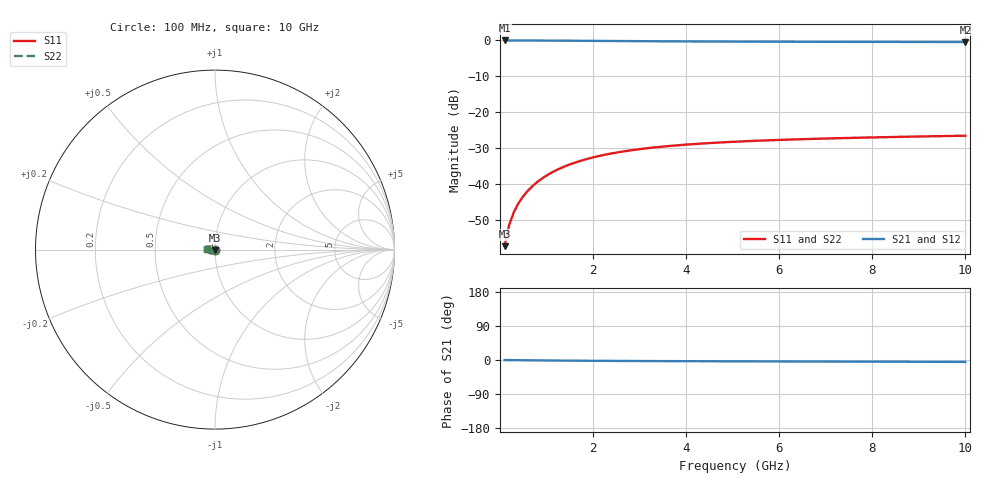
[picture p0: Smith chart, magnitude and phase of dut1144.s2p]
! Touchstone file exported from HFSS 2024.1.0
!  File:  C:/UserFiles/LocalFiles/RDL_TSV_Batchsim/temp_TSV1_1144_1780071281.aedt
!  Generated:  12:19:55 AM May 30, 2026
!  Design:  TSV1
!  Project:  temp_TSV1_1144_1780071281
!  Setup:  Setup1
!  Solution:  Sweep
! Variables:
!  dtsv = 12.02um
!  hbump = 3um
!  htsv = 76.42um
!  lrdl = 252.1521522um
!  p = 40
!  p1 = 56.38um
!  t = 500um
!  trdl = 3um
!  wrdl = 24.89489489um
# GHz S MA R 50.000000
! Terminal data exported
! Port[1] = TSV22_T1
! Port[2] = TSV22_T2
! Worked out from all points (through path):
!   100 points, 100 MHz to 10 GHz, reference 50 ohm
!   highest |S21| = 0.00 dB at 100 MHz (marker M1); lowest = -0.4 dB at 10 GHz (marker M2)
!   lowest |S11| = -57.3 dB at 100 MHz (marker M3), VSWR 1.00, Z = 50 - j0.136 ohm
!   |S11| at or under -10 dB: start of sweep to end of sweep
!   |S22| runs from -57.3 to -26.5 dB; largest |S21 - S12| = 4e-15
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0.1  0.001364 -87.9  0.9999 -0.1  0.9999 -0.1  0.001364 -87.9
! Gamma 0 0 0 0
! Port Impedance 50 0 50 0
0.2  0.002722 -91.7  0.9997 -0.3  0.9997 -0.3  0.002722 -91.7
0.3  0.004078 -94.3  0.9995 -0.4  0.9995 -0.4  0.004078 -94.3
0.4  0.005428 -96.5  0.9991 -0.5  0.9991 -0.5  0.005428 -96.5
0.5  0.006765 -98.6  0.9987 -0.6  0.9987 -0.6  0.006765 -98.6
0.6  0.008086 -100.7  0.9982 -0.8  0.9982 -0.8  0.008086 -100.7
0.7  0.009386 -102.7  0.9976 -0.9  0.9976 -0.9  0.009386 -102.7
0.8  0.01066 -104.6  0.997 -1.0  0.997 -1.0  0.01066 -104.6
0.9  0.01191 -106.5  0.9963 -1.1  0.9963 -1.1  0.01191 -106.5
1.1  0.01432 -110.3  0.9947 -1.3  0.9947 -1.3  0.01432 -110.3
1.4  0.01769 -115.6  0.9921 -1.6  0.9921 -1.6  0.01769 -115.6
1.6  0.01977 -118.9  0.9902 -1.8  0.9902 -1.8  0.01977 -118.9
1.8  0.0217 -122.1  0.9883 -2.0  0.9883 -2.0  0.0217 -122.1
2.1  0.02434 -126.6  0.9853 -2.2  0.9853 -2.2  0.02434 -126.6
2.5  0.02741 -132.1  0.9815 -2.5  0.9815 -2.5  0.02741 -132.1
2.9  0.03003 -137.0  0.9779 -2.7  0.9779 -2.7  0.03003 -137.0
3.4  0.03275 -142.6  0.9739 -2.9  0.9739 -2.9  0.03275 -142.6
4.2  0.03615 -150.1  0.9685 -3.2  0.9685 -3.2  0.03615 -150.1
5.1  0.03899 -157.2  0.9637 -3.5  0.9637 -3.5  0.03899 -157.2
6.7  0.04252 -167.4  0.9578 -4.0  0.9578 -4.0  0.04252 -167.4
8.4  0.04515 -175.9  0.9538 -4.5  0.9538 -4.5  0.04515 -175.9
10  0.04712 177.4  0.9513 -5.0  0.9513 -5.0  0.04712 177.3
